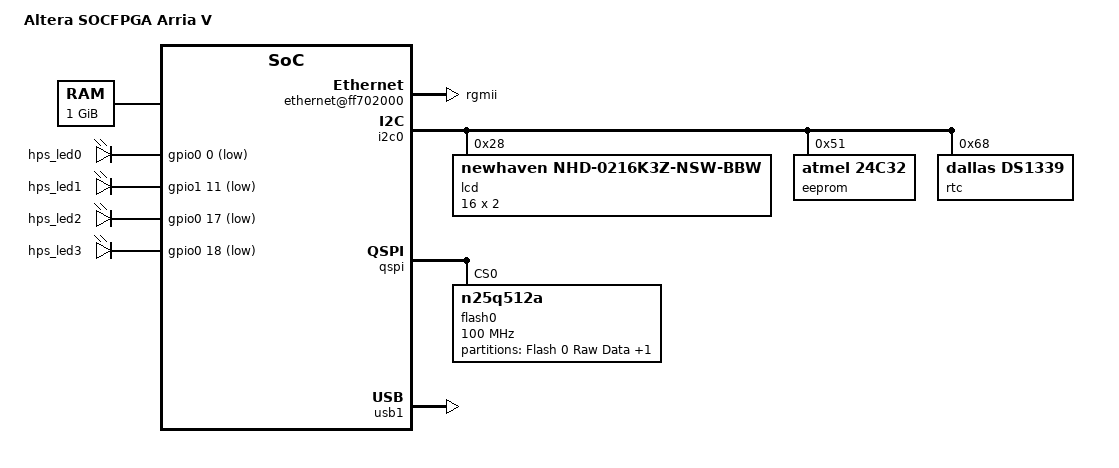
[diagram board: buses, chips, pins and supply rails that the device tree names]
/*
 *  Copyright (C) 2013 Altera Corporation <www.altera.com>
 *
 * This program is free software; you can redistribute it and/or modify it
 * under the terms and conditions of the GNU General Public License,
 * version 2, as published by the Free Software Foundation.
 *
 * This program is distributed in the hope it will be useful, but WITHOUT
 * ANY WARRANTY; without even the implied warranty of MERCHANTABILITY or
 * FITNESS FOR A PARTICULAR PURPOSE.  See the GNU General Public License for
 * more details.
 *
 * You should have received a copy of the GNU General Public License along with
 * this program.  If not, see <http://www.gnu.org/licenses/>.
 */

/dts-v1/;
/include/ "socfpga.dtsi"

/ {
	model = "Altera SOCFPGA Arria V";
	compatible = "altr,socfpga-arria5", "altr,socfpga";

	chosen {
		bootargs = "console=ttyS0,115200 root=/dev/mmcblk0p2 rw rootwait";
	};

	memory {
		name = "memory";
		device_type = "memory";
		reg = <0x0 0x40000000>; /* 1 GB */
	};

	aliases {
		/* this allow the ethaddr uboot environmnet variable contents
		 * to be added to the gmac1 device tree blob.
		 */
		ethernet0 = &gmac1;
	};

	soc {
		clkmgr@ffd04000 {
			clocks {
				osc1 {
					clock-frequency = <25000000>;
				};
			};
		};

		dwmmc0@ff704000 {
			num-slots = <1>;
			supports-highspeed;
			broken-cd;
			altr,dw-mshc-ciu-div = <3>;
			altr,dw-mshc-sdr-timing = <0 3>;

			slot@0 {
				reg = <0>;
				bus-width = <4>;
			};
		};

		ethernet@ff702000 {
			phy-mode = "rgmii";
			phy-addr = <0xffffffff>; /* probe for phy addr */
			status = "okay";
		};

		i2c0: i2c@ffc04000 {
			speed-mode = <0>;
			status = "okay";
		};

		qspi: spi@ff705000 {
			compatible = "cadence,qspi";
                        #address-cells = <1>;
			#size-cells = <0>;
			reg = <0xff705000 0x1000>,
				<0xffa00000 0x1000>;
			interrupts = <0 151 4>;
			master-ref-clk = <400000000>;
			ext-decoder = <0>;  /* external decoder */
			num-chipselect = <4>;
			fifo-depth = <128>;
			bus-num = <2>;

			flash0: n25q512a@0 {
				#address-cells = <1>;
				#size-cells = <1>;
				compatible = "n25q512a";
				reg = <0>;      /* chip select */
				spi-max-frequency = <100000000>;
				m25p,fast-read;
				page-size = <256>;
				block-size = <16>; /* 2^16, 64KB */
				read-delay = <4>;  /* delay value in read data capture register */
				tshsl-ns = <50>;
				tsd2d-ns = <50>;
				tchsh-ns = <4>;
				tslch-ns = <4>;

				partition@qspi-boot {
					/* 8MB for raw data. */
					label = "Flash 0 Raw Data";
					reg = <0x0 0x800000>;
				};
				partition@qspi-rootfs {
					/* 56MB for jffs2 data. */
					label = "Flash 0 jffs2 Filesystem";
					reg = <0x800000 0x3800000>;
				};
			};

		};

		timer0@ffc08000 {
			clock-frequency = <100000000>;
		};

		timer1@ffc09000 {
			clock-frequency = <100000000>;
		};

		timer2@ffd00000 {
			clock-frequency = <25000000>;
		};

		timer3@ffd01000 {
			clock-frequency = <25000000>;
		};

		serial0@ffc02000 {
			clock-frequency = <100000000>;
		};

		serial1@ffc03000 {
			clock-frequency = <100000000>;
		};

		sysmgr@ffd08000 {
			cpu1-start-addr = <0xffd080c4>;
		};

		usb1: usb@ffb40000 {
			ulpi-ddr = <0>;
			status = "okay";
		};

		leds {
			compatible = "gpio-leds";
			hps0 {
				label = "hps_led0";
				gpios = <&gpio0 0 1>;
			};

			hps1 {
				label = "hps_led1";
				gpios = <&gpio1 11 1>;
			};

			hps2 {
				label = "hps_led2";
				gpios = <&gpio0 17 1>;
			};

			hps3 {
				label = "hps_led3";
				gpios = <&gpio0 18 1>;
			};
		};
	};
};

&i2c0 {
	lcd: lcd@28 {
		compatible = "newhaven,nhd-0216k3z-nsw-bbw";
		reg = <0x28>;
		height = <2>;
		width = <16>;
		brightness = <8>;
	};

	eeprom@51 {
		compatible = "atmel,24c32";
		reg = <0x51>;
		pagesize = <32>;
	};

	rtc@68 {
		compatible = "dallas,ds1339";
		reg = <0x68>;
	};
};
